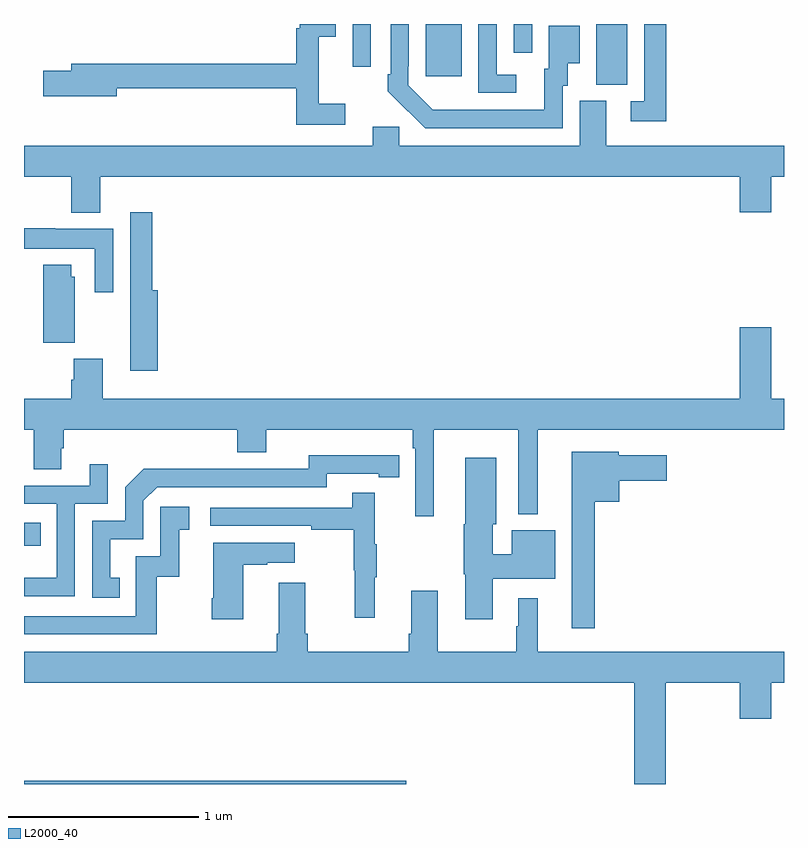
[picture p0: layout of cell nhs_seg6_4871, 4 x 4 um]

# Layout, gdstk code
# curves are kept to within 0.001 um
import gdstk
lib = gdstk.Library(unit=1e-6, precision=1e-09)
def R(c, l, rs):  # rectangles x0, y0, x1, y1
    for r in rs: c.add(gdstk.rectangle(r[:2], r[2:], *l))
def P(c, l, *ps):  # polygons
    for p in ps: c.add(gdstk.Polygon(p, *l))
L2000_40 = (2000, 40)

nhs_seg6_4871 = lib.new_cell('nhs_seg6_4871')
R(nhs_seg6_4871, L2000_40, [(401,917.5,403.012,917.516), (401,918.753,401.087,918.876), (404.012,921.181,404.176,921.5), (403.115,921.225,403.303,921.499), (402.729,921.276,402.825,921.5), (403.578,921.348,403.674,921.5)])
P(nhs_seg6_4871, L2000_40, [(404.381,921.5),(404.265,921.5),(404.265,921.093),(404.193,921.093),(404.193,920.988),(404.381,920.988)],
  [(403.591,921.234),(403.488,921.234),(403.488,921.5),(403.392,921.5),(403.392,921.138),(403.591,921.138)],
  [(403.836,921.174),(403.861,921.174),(403.861,921.293),(403.924,921.293),(403.924,921.49),(403.763,921.49),(403.763,921.264),(403.739,921.264),(403.739,921.048),(403.152,921.049),(403.023,921.177),(403.023,921.277),(403.026,921.277),(403.026,921.5),(402.93,921.5),(402.93,921.235),(402.915,921.235),(402.915,921.147),(403.112,920.952),(403.836,920.952)],
  [(402.691,921.079),(402.551,921.079),(402.551,921.434),(402.64,921.434),(402.64,921.5),(402.452,921.5),(402.452,921.477),(402.433,921.477),(402.433,921.29),(401.249,921.29),(401.249,921.254),(401.1,921.254),(401.1,921.119),(401.488,921.119),(401.488,921.162),(402.433,921.162),(402.433,920.97),(402.691,920.97)],
  [(401.401,920.696),(404.768,920.696),(404.768,920.508),(404.932,920.508),(404.932,920.696),(405,920.696),(405,920.86),(404.065,920.86),(404.065,921.096),(403.925,921.096),(403.925,920.86),(402.975,920.86),(402.975,920.958),(402.836,920.958),(402.836,920.86),(401,920.86),(401,920.696),(401.249,920.696),(401.249,920.507),(401.401,920.507)],
  [(401.705,920.098),(401.675,920.098),(401.675,920.509),(401.559,920.509),(401.559,919.994),(401.558,919.994),(401.558,919.674),(401.705,919.674)],
  [(401.469,920.422),(401.165,920.422),(401.165,920.425),(401,920.425),(401,920.318),(401.373,920.318),(401.373,920.088),(401.469,920.088)],
  [(401.266,920.169),(401.248,920.169),(401.248,920.233),(401.102,920.233),(401.102,919.822),(401.266,919.822)],
  [(403.156,919.364),(403.601,919.364),(403.601,918.92),(403.705,918.92),(403.705,919.364),(405,919.364),(405,919.528),(404.932,919.528),(404.932,919.903),(404.768,919.903),(404.768,919.528),(401.414,919.528),(401.414,919.737),(401.261,919.737),(401.261,919.628),(401.249,919.628),(401.249,919.528),(401,919.528),(401,919.364),(401.05,919.364),(401.05,919.156),(401.197,919.156),(401.197,919.266),(401.21,919.266),(401.21,919.364),(402.122,919.364),(402.122,919.247),(402.274,919.247),(402.274,919.364),(403.046,919.364),(403.046,919.268),(403.059,919.268),(403.059,918.909),(403.156,918.909)],
  [(404.005,918.986),(404.134,918.986),(404.134,919.097),(404.383,919.097),(404.383,919.231),(404.13,919.231),(404.13,919.249),(403.883,919.249),(403.883,918.321),(404.005,918.321)],
  [(401.504,918.585),(401.455,918.585),(401.455,918.789),(401.628,918.789),(401.628,918.99),(401.7,919.062),(402.594,919.062),(402.594,919.134),(402.866,919.134),(402.866,919.114),(402.974,919.114),(402.974,919.23),(402.498,919.231),(402.498,919.158),(402.038,919.158),(402.038,919.16),(401.63,919.16),(401.532,919.062),(401.532,918.885),(401.358,918.885),(401.358,918.48),(401.504,918.48)],
  [(403.468,918.581),(403.795,918.581),(403.795,918.835),(403.568,918.835),(403.568,918.709),(403.468,918.709),(403.468,918.867),(403.486,918.867),(403.486,919.216),(403.322,919.216),(403.322,918.867),(403.315,918.867),(403.315,918.605),(403.322,918.605),(403.322,918.366),(403.468,918.366)],
  [(401.268,918.975),(401.442,918.975),(401.442,919.183),(401.345,919.183),(401.345,919.071),(401,919.071),(401,918.975),(401.172,918.975),(401.172,918.586),(401,918.586),(401,918.489),(401.268,918.489)],
  [(402.845,918.587),(402.856,918.587),(402.856,918.761),(402.845,918.761),(402.845,919.033),(402.727,919.033),(402.727,918.954),(401.979,918.954),(401.979,918.858),(402.511,918.858),(402.511,918.838),(402.735,918.838),(402.735,918.624),(402.742,918.624),(402.742,918.375),(402.845,918.375)],
  [(401.698,918.591),(401.816,918.591),(401.816,918.837),(401.869,918.837),(401.869,918.958),(401.718,918.958),(401.718,918.699),(401.589,918.699),(401.589,918.384),(401,918.384),(401,918.288),(401.698,918.288)],
  [(402.154,918.655),(402.281,918.655),(402.281,918.665),(402.424,918.665),(402.424,918.769),(401.996,918.769),(401.996,918.478),(401.989,918.478),(401.989,918.366),(402.154,918.366)],
  [(404.377,918.032),(404.768,918.032),(404.768,917.844),(404.932,917.844),(404.932,918.032),(405,918.032),(405,918.196),(403.705,918.196),(403.705,918.478),(403.601,918.478),(403.601,918.329),(403.591,918.329),(403.591,918.196),(403.177,918.196),(403.177,918.517),(403.037,918.517),(403.037,918.292),(403.025,918.292),(403.025,918.196),(402.494,918.196),(402.494,918.292),(402.481,918.292),(402.481,918.559),(402.341,918.559),(402.341,918.292),(402.329,918.292),(402.329,918.196),(401,918.196),(401,918.032),(404.213,918.032),(404.213,917.5),(404.377,917.5)])

lib.write_gds('nhs_seg6_4871.gds')
